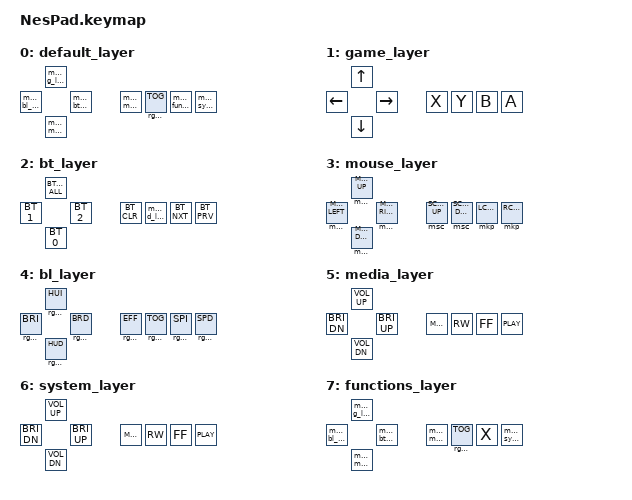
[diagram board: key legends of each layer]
#include <behaviors.dtsi>
#include <dt-bindings/zmk/keys.h>
#include <dt-bindings/zmk/bt.h>
#include <dt-bindings/zmk/rgb.h>
#include <dt-bindings/zmk/pointing.h>
#include <input/processors.dtsi>

#define default_layer 0
#define game_layer 1
#define bt_layer 2
#define mouse_layer 3
#define bl_layer 4
#define media_layer 5
#define system_layer 6
#define functions_layer 7

#define ALLLAYERS  default_layer   game_layer   bt_layer   mouse_layer   bl_layer   media_layer   system_layer  functions_layer


#define ZMK_MOUSE_DEFAULT_MOVE_VAL 1500  // 600
#define ZMK_MOUSE_DEFAULT_SCRL_VAL 20    // 10

&mmv {
  acceleration-exponent = <2>;      // 1
  time-to-max-speed-ms = <600>;     // 300
  delay-ms = <16>;                   // 0
};

&msc {
  acceleration-exponent = <1>;      // 0
  time-to-max-speed-ms = <100>;     // 300
  delay-ms = <0>;                   // 0
};
&mmv_input_listener {
    set_mouse_fast {
        layers = <mouse_layer>;
        input-processors = <&zip_xy_scaler 2 1>;
    };
};
/ {
    macros {
        macro_to_d_layer: macro_to_d_layer {
            compatible = "zmk,behavior-macro";
            #binding-cells = <0>;
            bindings = <&to 0>, <&rgb_ug RGB_COLOR_HSB(0, 100, 50)>;
        };
        macro_to_g_layer: macro_to_g_layer {
            compatible = "zmk,behavior-macro";
            #binding-cells = <0>;
            bindings = <&to 1>, <&rgb_ug RGB_COLOR_HSB(75, 100, 50)>;
        };
        macro_to_bt_layer: macro_to_bt_layer {
            compatible = "zmk,behavior-macro";
            #binding-cells = <0>;
            bindings = <&to 2>, <&rgb_ug RGB_COLOR_HSB(175, 100, 50)>;
        };
        macro_to_mouse_layer: macro_to_mouse_layer {
            compatible = "zmk,behavior-macro";
            #binding-cells = <0>;
            bindings = <&to 3>, <&rgb_ug RGB_COLOR_HSB(220, 100, 50)>;
        };
        macro_to_bl_layer: macro_to_bl_layer {
            compatible = "zmk,behavior-macro";
            #binding-cells = <0>;
            bindings = <&to 4>, <&rgb_ug RGB_COLOR_HSB(290, 100, 50)>;
        };
        macro_to_m_layer: macro_to_m_layer {
            compatible = "zmk,behavior-macro";
            #binding-cells = <0>;
            bindings = <&to 5>, <&rgb_ug RGB_COLOR_HSB(245, 100, 50)>;
        };
        macro_to_sys_layer: macro_to_sys_layer {
            compatible = "zmk,behavior-macro";
            #binding-cells = <0>;
            bindings = <&to 6>, <&rgb_ug RGB_COLOR_HSB(265, 100, 50)>;
        };
        macro_to_fun_layer: macro_to_fun_layer {
            compatible = "zmk,behavior-macro";
            #binding-cells = <0>;
            bindings = <&to 7>, <&rgb_ug RGB_COLOR_HSB(45, 100, 50)>;
        };
    };
};

#define COMBO(NAME, BINDINGS, KEYPOS, LAYERS) \
  combo_##NAME { \
    timeout-ms = <50>; \
    bindings = <BINDINGS>; \
    key-positions = <KEYPOS>; \
    layers = <LAYERS>; \
   };

/ {
    combos {
        compatible = "zmk,combos";
        COMBO(todefault,  &to 0, 4 5, ALLLAYERS)
        COMBO(togrgb,  &rgb_ug RGB_TOG, 4 7, ALLLAYERS)
         COMBO(macsleep,  &kp C_SLEEP, 4 6, ALLLAYERS)
    };

    keymap {
        compatible = "zmk,keymap";
        default_layer {
            bindings = <
                &macro_to_g_layer   &macro_to_mouse_layer   &macro_to_bl_layer   &macro_to_bt_layer
                &macro_to_m_layer   &rgb_ug RGB_TOG   &macro_to_fun_layer  &macro_to_sys_layer
            >;
        };
        game_layer {
            bindings = <
                &kp UP   &kp DOWN   &kp LEFT   &kp RIGHT
                &kp X   &kp Y   &kp B   &kp A
            >;
        };
        bt_layer {
            bindings = <
                &bt BT_CLR_ALL  // Clear all Bluetooth bonds
                &bt BT_SEL 0    // Select Bluetooth profile 0
                &bt BT_SEL 1    // Select Bluetooth profile 1
                &bt BT_SEL 2    // Select Bluetooth profile 2
                &bt BT_CLR    // Select Bluetooth clear
                &macro_to_d_layer     // Select Bluetooth profile 4
                &bt BT_NXT           // Return to Default Layer
                &bt BT_PRV           // No function assigned
            >;
        };
        mouse_layer {
            bindings = <
                &mmv MOVE_UP 
                &mmv MOVE_DOWN  
                &mmv MOVE_LEFT  
                &mmv MOVE_RIGHT   
                &msc SCRL_UP
                &msc SCRL_DOWN
                &mkp LCLK           
                &mkp RCLK           
            >;
        };
        bl_layer {
            bindings = <
                &rgb_ug RGB_HUI 
                &rgb_ug RGB_HUD 
                &rgb_ug RGB_BRI 
                &rgb_ug RGB_BRD   
                &rgb_ug RGB_EFF
                &rgb_ug RGB_TOG
                &rgb_ug RGB_SPI         
                &rgb_ug RGB_SPD           
            >;
        };
        media_layer {
            bindings = <
                &kp C_VOL_UP 
                &kp C_VOL_DN
                &kp C_BRI_DN
                &kp C_BRI_UP
                &kp C_MUTE 
                &kp C_RW   
                &kp C_FF
                &kp C_PLAY          
            >;
        };
        system_layer {
            bindings = <
                &kp C_VOL_UP 
                &kp C_VOL_DN
                &kp C_BRI_DN
                &kp C_BRI_UP
                &kp C_MUTE 
                &kp C_RW   
                &kp C_FF
                &kp C_PLAY          
            >;
        };
        functions_layer {
            bindings = <
                &macro_to_g_layer   &macro_to_mouse_layer   &macro_to_bl_layer   &macro_to_bt_layer
                &macro_to_m_layer   &rgb_ug RGB_TOG   &kp X  &macro_to_sys_layer
            >;
        };
    };
};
